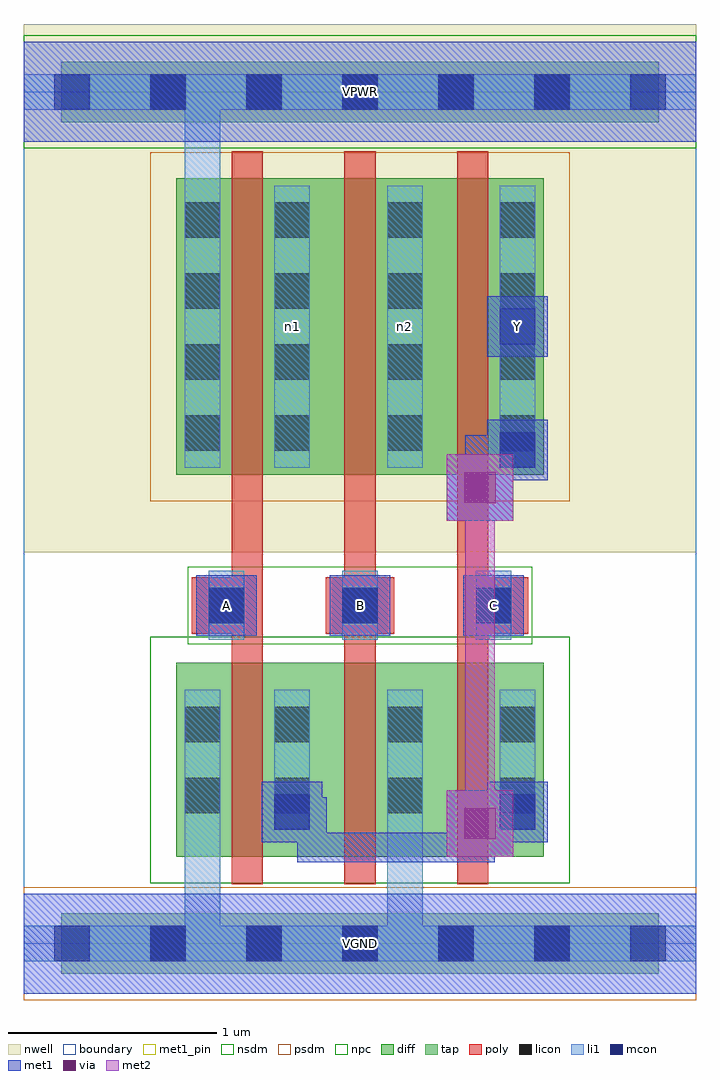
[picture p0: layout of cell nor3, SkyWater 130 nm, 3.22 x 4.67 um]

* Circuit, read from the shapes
.subckt nor3 A B C VGND VPWR Y n1 n2
XM1 Y A VGND VGND sky130_fd_pr__nfet_01v8 w=0.93 l=0.15
XM2 VGND B Y VGND sky130_fd_pr__nfet_01v8 w=0.93 l=0.15
XM3 Y C VGND VGND sky130_fd_pr__nfet_01v8 w=0.93 l=0.15
XM4 n1 A VPWR VPWR sky130_fd_pr__pfet_01v8 w=1.42 l=0.15
XM5 n2 B n1 VPWR sky130_fd_pr__pfet_01v8 w=1.42 l=0.15
XM6 Y C n2 VPWR sky130_fd_pr__pfet_01v8 w=1.42 l=0.15
.ends

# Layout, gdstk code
import gdstk
lib = gdstk.Library(unit=1e-6, precision=1e-09)
def R(c, l, rs):  # rectangles x0, y0, x1, y1
    for r in rs: c.add(gdstk.rectangle(r[:2], r[2:], *l))
def A(c, l, x, y, w, h, nx, ny, dx, dy):  # array of equal rectangles
    R(c, l, [(x+i*dx, y+j*dy, x+i*dx+w, y+j*dy+h) for i in range(nx) for j in range(ny)])
nwell = (64, 20)
diff = (65, 20)
tap = (65, 44)
poly = (66, 20)
licon = (66, 44)
li1 = (67, 20)
mcon = (67, 44)
met1_pin = (68, 16)
met1 = (68, 20)
via = (68, 44)
met2 = (69, 20)
nsdm = (93, 44)
psdm = (94, 20)
npc = (95, 20)
boundary = (235, 4)

nor3 = lib.new_cell('nor3')
R(nor3, nwell, [(0,1.875,3.22,4.405)])
R(nor3, diff, [(0.73,0.415,2.49,1.345), (0.73,2.245,2.49,3.665)])
R(nor3, tap, [(0.18,-0.145,3.04,0.145), (0.18,3.935,3.04,4.225)])
A(nor3, poly, 0.995, 0.285, 0.15, 3.51, 3, 1, 0.54, 0)
A(nor3, poly, 0.805, 1.485, 0.33, 0.27, 3, 1, 0.64, 0)
A(nor3, licon, 0.605, -0.085, 0.17, 0.17, 5, 2, 0.46, 4.08)
A(nor3, licon, 1.2, 0.625, 0.17, 0.17, 3, 2, 0.54, 0.34)
A(nor3, licon, 0.885, 1.535, 0.17, 0.17, 3, 1, 0.64, 0)
A(nor3, licon, 0.77, 2.36, 0.17, 0.17, 1, 4, 0, 0.34)
A(nor3, licon, 1.2, 2.36, 0.17, 0.17, 3, 4, 0.54, 0.34)
R(nor3, licon, [(0.77,0.625,0.94,0.795), (0.77,0.965,0.94,1.135)])
A(nor3, li1, 1.2, 0.545, 0.17, 0.67, 3, 1, 0.54, 0)
A(nor3, li1, 0.885, 1.455, 0.17, 0.33, 3, 1, 0.64, 0)
A(nor3, li1, 1.2, 2.28, 0.17, 1.35, 3, 1, 0.54, 0)
R(nor3, li1, [(0,-0.085,3.22,0.085), (0.77,-0.085,0.94,1.215), (1.74,-0.085,1.91,1.215), (0.77,0.545,0.94,1.215), (0.77,2.28,0.94,3.63), (0.77,2.28,0.94,4.165), (0,3.995,3.22,4.165)])
A(nor3, mcon, 0.145, -0.085, 0.17, 0.17, 7, 2, 0.46, 4.08)
A(nor3, mcon, 0.885, 1.535, 0.17, 0.17, 3, 1, 0.64, 0)
R(nor3, mcon, [(1.2,0.545,1.37,0.715), (2.28,0.545,2.45,0.715), (2.28,2.28,2.45,2.45), (2.28,2.87,2.45,3.04)])
A(nor3, met1_pin, 0.825, 1.475, 0.29, 0.29, 3, 1, 0.64, 0)
R(nor3, met1_pin, [(0,-0.24,3.22,0.24), (2.22,2.81,2.51,3.1), (0,3.84,3.22,4.32)])
A(nor3, met1, 0.825, 1.475, 0.29, 0.29, 3, 1, 0.64, 0)
R(nor3, met1, [(0,-0.24,3.22,0.24), (1.31,0.39,1.45,0.7), (1.31,0.39,2.255,0.53), (2.115,0.39,2.255,0.7), (2.115,0.39,2.255,0.645), (2.025,0.415,2.345,0.735), (1.14,0.485,1.43,0.775), (2.22,0.485,2.51,0.775), (1.215,0.56,1.45,0.7), (2.115,0.56,2.435,0.7), (2.025,2.025,2.345,2.345), (2.115,2.115,2.255,2.435), (2.22,2.22,2.51,2.51), (2.115,2.295,2.435,2.435), (2.22,2.81,2.51,3.1), (0,3.84,3.22,4.32)])
R(nor3, via, [(2.11,0.5,2.26,0.65), (2.11,2.11,2.26,2.26)])
R(nor3, met2, [(2.025,0.415,2.345,0.735), (2.115,0.505,2.255,2.255), (2.025,2.025,2.345,2.345)])
R(nor3, nsdm, [(0.605,0.29,2.615,1.47), (0,3.81,3.22,4.35)])
R(nor3, psdm, [(0,-0.27,3.22,0.27), (0.605,2.12,2.615,3.79)])
R(nor3, npc, [(0.785,1.435,2.435,1.805)])
R(nor3, boundary, [(0,0,3.22,4.08)])
nor3.add(gdstk.Label('n1', (1.285,2.955), layer=67, texttype=5))
nor3.add(gdstk.Label('n2', (1.825,2.955), layer=67, texttype=5))
nor3.add(gdstk.Label('A', (0.97,1.62), layer=68, texttype=5))
nor3.add(gdstk.Label('B', (1.61,1.62), layer=68, texttype=5))
nor3.add(gdstk.Label('C', (2.25,1.62), layer=68, texttype=5))
nor3.add(gdstk.Label('Y', (2.365,2.955), layer=68, texttype=5))
nor3.add(gdstk.Label('VPWR', (1.61,4.08), layer=68, texttype=5))
nor3.add(gdstk.Label('VGND', (1.61,0), layer=68, texttype=5))
nor3.add(gdstk.Label('A', (0.97,1.62), layer=68, texttype=16))
nor3.add(gdstk.Label('B', (1.61,1.62), layer=68, texttype=16))
nor3.add(gdstk.Label('C', (2.25,1.62), layer=68, texttype=16))
nor3.add(gdstk.Label('Y', (2.365,2.955), layer=68, texttype=16))
nor3.add(gdstk.Label('VPWR', (1.61,4.08), layer=68, texttype=16))
nor3.add(gdstk.Label('VGND', (1.61,0), layer=68, texttype=16))

lib.write_gds('nor3.gds')
